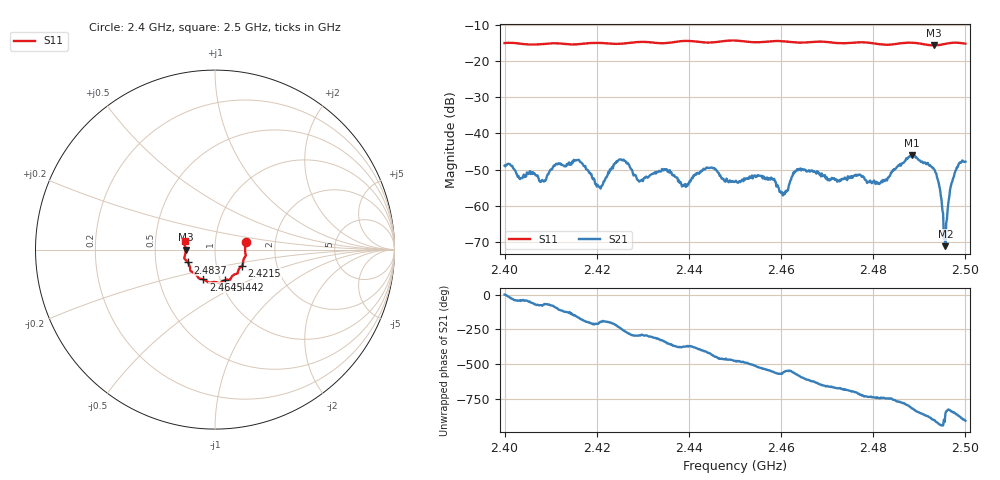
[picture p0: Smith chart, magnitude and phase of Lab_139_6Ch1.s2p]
# Hz S RI R 50
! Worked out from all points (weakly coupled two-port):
!   601 points, 2.4 GHz to 2.5 GHz, reference 50 ohm
!   highest |S21| = -45.97 dB at 2.4883 GHz (marker M1); lowest = -71.1 dB at 2.4957 GHz (marker M2)
!   lowest |S11| = -15.7 dB at 2.4932 GHz (marker M3), VSWR 1.39, Z = 35.9 - j0.046 ohm
!   |S11| at or under -10 dB: start of sweep to end of sweep
!   S12 and S22 are empty: the file has one direction only
!   S11 on the Smith chart (normalised r, x): 2.4 GHz: 1.41, +0.12; 2.4215 GHz: 1.33, -0.25; 2.4442 GHz: 1.05, -0.37; 2.4645 GHz: 0.83, -0.29; 2.4837 GHz: 0.73, -0.11; 2.5 GHz: 0.71, +0.07
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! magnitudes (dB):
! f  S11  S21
! 2.4 GHz  -15.1  -48.9
! 2.4082 GHz  -15.4  -52.8
! 2.4112 GHz  -15.2  -48.4
! 2.4167 GHz  -15.3  -48.0
! 2.4215 GHz  -15.1  -53.2
! 2.4252 GHz  -15.3  -47.2
! 2.4292 GHz  -14.8  -53.2
! 2.4333 GHz  -15.1  -50.6
! 2.439 GHz  -14.5  -54.4
! 2.4442 GHz  -15.0  -49.5
! 2.45 GHz  -14.4  -53.3
! 2.458 GHz  -14.6  -52.3
! 2.4605 GHz  -14.6  -57.0
! 2.4645 GHz  -15.0  -49.8
! 2.4667 GHz  -14.8  -50.2
! 2.4833 GHz  -15.6  -52.1
! 2.4837 GHz  -15.5  -51.6
! 2.4883 GHz  -15.0  -46.0
! 2.4932 GHz  -15.7  -49.8
! 2.4957 GHz  -15.3  -71.1
! 2.4973 GHz  -15.0  -52.3
! 2.5 GHz  -15.3  -47.8
